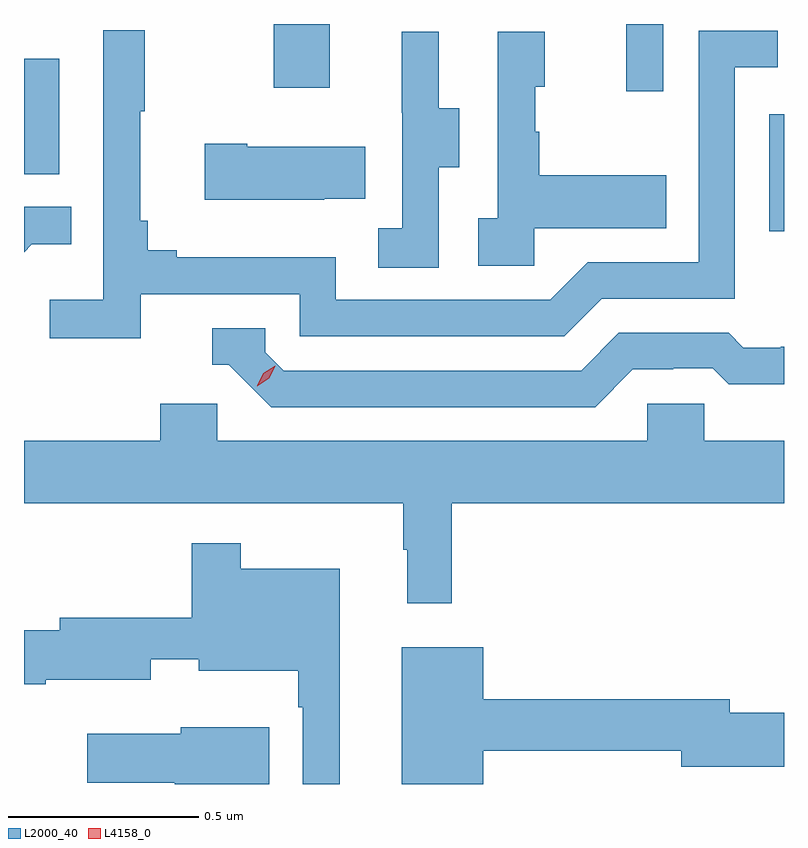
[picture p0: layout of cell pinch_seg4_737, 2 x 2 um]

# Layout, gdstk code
import gdstk
lib = gdstk.Library(unit=1e-6, precision=1e-09)
def R(c, l, rs):  # rectangles x0, y0, x1, y1
    for r in rs: c.add(gdstk.rectangle(r[:2], r[2:], *l))
def P(c, l, *ps):  # polygons
    for p in ps: c.add(gdstk.Polygon(p, *l))
L2000_40 = (2000, 40)
L4158_0 = (4158, 0)

pinch_seg4_737 = lib.new_cell('pinch_seg4_737')
R(pinch_seg4_737, L2000_40, [(847.56,816.183,847.599,816.492), (845.599,816.333,845.692,816.637), (847.184,816.552,847.281,816.729), (846.256,816.561,846.403,816.729)])
P(pinch_seg4_737, L2000_40, [(845.906,816.018),(846.324,816.018),(846.324,815.907),(847.021,815.907),(847.12,816.006),(847.47,816.006),(847.47,816.615),(847.583,816.615),(847.583,816.711),(847.374,816.711),(847.374,816.102),(847.083,816.102),(846.984,816.003),(846.42,816.003),(846.42,816.115),(846.001,816.115),(846.001,816.134),(845.924,816.134),(845.924,816.211),(845.905,816.211),(845.905,816.499),(845.917,816.499),(845.917,816.712),(845.808,816.712),(845.808,816.004),(845.667,816.004),(845.667,815.902),(845.906,815.902)],
  [(846.942,816.191),(847.289,816.191),(847.289,816.331),(846.955,816.331),(846.955,816.446),(846.945,816.446),(846.945,816.564),(846.97,816.564),(846.97,816.709),(846.846,816.709),(846.846,816.218),(846.795,816.218),(846.795,816.093),(846.942,816.093)],
  [(846.69,816.352),(846.745,816.352),(846.745,816.507),(846.691,816.507),(846.691,816.709),(846.593,816.709),(846.593,816.495),(846.594,816.495),(846.594,816.191),(846.531,816.191),(846.531,816.088),(846.69,816.088)],
  [(846.389,816.269),(846.497,816.269),(846.497,816.406),(846.187,816.406),(846.187,816.414),(846.075,816.414),(846.075,816.266),(846.389,816.266)],
  [(845.619,816.149),(845.723,816.149),(845.723,816.248),(845.599,816.248),(845.599,816.129)],
  [(847.201,815.82),(847.308,815.82),(847.308,815.823),(847.411,815.823),(847.453,815.781),(847.599,815.781),(847.599,815.88),(847.591,815.88),(847.591,815.877),(847.492,815.877),(847.453,815.916),(847.164,815.916),(847.065,815.817),(846.282,815.817),(846.234,815.865),(846.234,815.928),(846.095,815.928),(846.095,815.832),(846.138,815.832),(846.249,815.721),(847.102,815.721)],
  [(846.725,815.468),(847.599,815.468),(847.599,815.632),(847.389,815.632),(847.389,815.73),(847.239,815.73),(847.239,815.632),(846.108,815.632),(846.108,815.73),(845.957,815.73),(845.957,815.632),(845.599,815.632),(845.599,815.468),(846.597,815.468),(846.597,815.345),(846.608,815.345),(846.608,815.205),(846.725,815.205)],
  [(846.43,815.296),(846.169,815.296),(846.169,815.362),(846.04,815.362),(846.04,815.167),(845.693,815.167),(845.693,815.133),(845.599,815.133),(845.599,814.991),(845.656,814.991),(845.656,815.003),(845.932,815.003),(845.932,815.057),(846.059,815.057),(846.059,815.027),(846.321,815.027),(846.321,814.931),(846.333,814.931),(846.333,814.729),(846.43,814.729)],
  [(846.808,814.816),(847.328,814.816),(847.328,814.774),(847.599,814.774),(847.599,814.916),(847.456,814.916),(847.456,814.952),(846.808,814.952),(846.808,815.089),(846.593,815.089),(846.593,814.729),(846.808,814.729)],
  [(846.244,814.879),(846.012,814.879),(846.012,814.861),(845.766,814.861),(845.766,814.732),(845.996,814.732),(845.996,814.729),(846.244,814.729)])
P(pinch_seg4_737, L4158_0, [(846.213,815.776),(846.213,815.777),(846.229,815.81),(846.26,815.83),(846.26,815.83),(846.26,815.83),(846.244,815.797),(846.213,815.776)])

lib.write_gds('pinch_seg4_737.gds')
